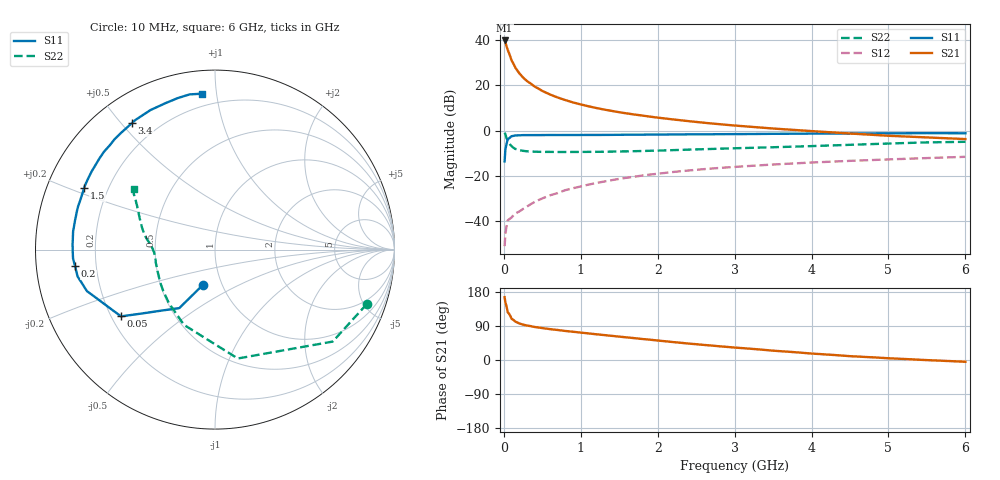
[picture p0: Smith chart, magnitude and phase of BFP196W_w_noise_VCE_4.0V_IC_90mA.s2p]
! Infineon Technologies  Discrete & RF Semiconductors
! BFP196W
! VCE =  4.0 V,  IC =  90 mA
! Common Emitter S-Parameters:  Jan 2017
# GHz  S  MA  R  50
!  f  S11  S21  S12  S22
! GHz  MAG  ANG  MAG  ANG  MAG  ANG  MAG  ANG
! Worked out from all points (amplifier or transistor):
!   77 points, 10 MHz to 6 GHz, reference 50 ohm
!   highest |S21| = 39.8 dB at 10 MHz (marker M1)
!   |S21| within 3 dB of that: start of sweep to 39.17 MHz
!   unconditionally stable (mu >= 1): 490.3 MHz to 3.291 GHz
!   at 130 MHz: K = 0.59, MSG = 33.2 dB, |S12| = -37.3 dB
!   at 2.2 GHz: K = 1.03, MAG = 10.5 dB, |S12| = -18.3 dB
!   at 6 GHz: K = 0.95, MSG = 3.9 dB, |S12| = -11.6 dB
!   lowest NFmin = 1.78 dB at 450 MHz
!   S11 on the Smith chart (normalised r, x): 10 MHz: 0.81, -0.33; 50 MHz: 0.24, -0.30; 200 MHz: 0.12, -0.06; 1.5 GHz: 0.11, +0.22; 3.4 GHz: 0.11, +0.54; 6 GHz: 0.13, +0.91
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0.01  0.2085 -109.0  97.56 165.7  0.0028 74.9  0.8988 -19.7
0.02  0.3819 -121.4  89.12 151.9  0.0052 70.5  0.8323 -38.0
0.05  0.6423 -144.6  60.48 126.1  0.0104 48.9  0.6198 -78.2
0.1  0.7498 -162.0  35.36 108.7  0.012 46.3  0.4533 -112.5
0.15  0.7803 -169.0  24.39 101.3  0.0148 48.5  0.3933 -130.8
0.2  0.7848 -173.2  18.48 96.6  0.0163 54.2  0.3693 -141.3
0.25  0.7925 -176.4  14.85 93.3  0.0186 55.1  0.3564 -148.6
0.3  0.7926 -178.6  12.4 91.0  0.0209 57.4  0.3483 -153.5
0.4  0.794 177.9  9.37 87.1  0.0265 61.3  0.3414 -160.1
0.5  0.7948 175.0  7.497 84.2  0.0317 64.5  0.3381 -164.4
0.6  0.7971 172.7  6.264 81.5  0.0371 65.3  0.3381 -167.4
0.7  0.7961 170.5  5.366 79.2  0.0417 67.4  0.3359 -169.7
0.9  0.7971 166.1  4.169 74.5  0.0532 66.8  0.3368 -172.9
1.1  0.8 162.2  3.436 70.2  0.064 66.9  0.3382 -175.5
1.3  0.8006 158.4  2.913 65.9  0.0746 65.9  0.3403 -177.7
1.5  0.806 154.8  2.538 61.7  0.0858 64.6  0.3455 -179.9
2.1  0.8169 143.7  1.843 49.4  0.1164 59.2  0.3652 174.6
3.1  0.836 127.6  1.253 31.4  0.1614 49.3  0.4108 166.1
3.4  0.8437 123.2  1.143 26.4  0.1737 46.7  0.4236 163.4
4.1  0.8566 113.7  0.949 15.8  0.2002 40.3  0.4594 156.5
5.1  0.8702 102.9  0.754 3.7  0.2336 32.0  0.5229 147.9
6  0.8715 94.6  0.649 -4.7  0.263 24.8  0.564 143.5
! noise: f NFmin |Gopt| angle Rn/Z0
0.45  1.78  0.58  -175  0.06
0.9  1.93  0.6  -168  0.08
1.9  2.83  0.71  -147  0.22
2.4  3.27  0.75  -142  0.36
